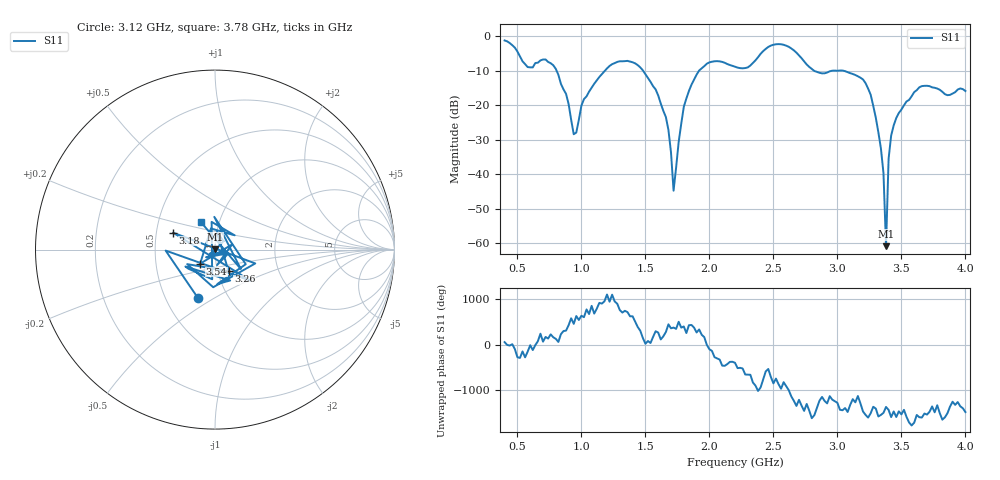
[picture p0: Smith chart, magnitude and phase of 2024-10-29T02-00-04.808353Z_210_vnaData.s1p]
!Created with skrf (http://scikit-rf.org).
# Hz S RI R 50.0
!freq ReS11 ImS11
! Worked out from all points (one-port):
!   181 points, 400 MHz to 4 GHz, reference 50 ohm
!   lowest |S11| = -60.8 dB at 3.38 GHz (marker M1), VSWR 1.00, Z = 50 + j0.0901 ohm
!   |S11| at or under -10 dB: 806.6 MHz to 1.184 GHz (377.3 MHz wide, 37.9 % of centre); 1.483 GHz to 1.918 GHz (435.8 MHz wide, 25.6 % of centre); 3.05 GHz to end of sweep (the widest 3 of 4)
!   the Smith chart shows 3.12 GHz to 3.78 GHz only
!   S11 on the Smith chart (normalised r, x): 3.12 GHz: 0.72, -0.42; 3.18 GHz: 0.61, +0.12; 3.26 GHz: 1.13, -0.28; 3.54 GHz: 0.84, -0.13; 3.78 GHz: 0.81, +0.26
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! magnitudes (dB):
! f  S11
! 400 MHz  -1.2
! 580 MHz  -8.9
! 780 MHz  -8.4
! 860 MHz  -15.4
! 940 MHz  -28.4
! 1.02 GHz  -18.2
! 1.3 GHz  -7.2
! 1.6 GHz  -17.1
! 1.68 GHz  -27.1
! 1.72 GHz  -44.7
! 1.76 GHz  -30.6
! 1.8 GHz  -20.4
! 1.92 GHz  -9.9
! 2.2 GHz  -8.8
! 2.66 GHz  -4.1
! 2.82 GHz  -10.0
! 3.1 GHz  -10.7
! 3.12 GHz  -10.9
! 3.18 GHz  -12.0
! 3.26 GHz  -16.9
! 3.36 GHz  -39.6
! 3.38 GHz  -60.8
! 3.4 GHz  -35.5
! 3.42 GHz  -28.7
! 3.54 GHz  -18.9
! 3.56 GHz  -18.4
! 3.78 GHz  -15.1
! 4 GHz  -15.8
